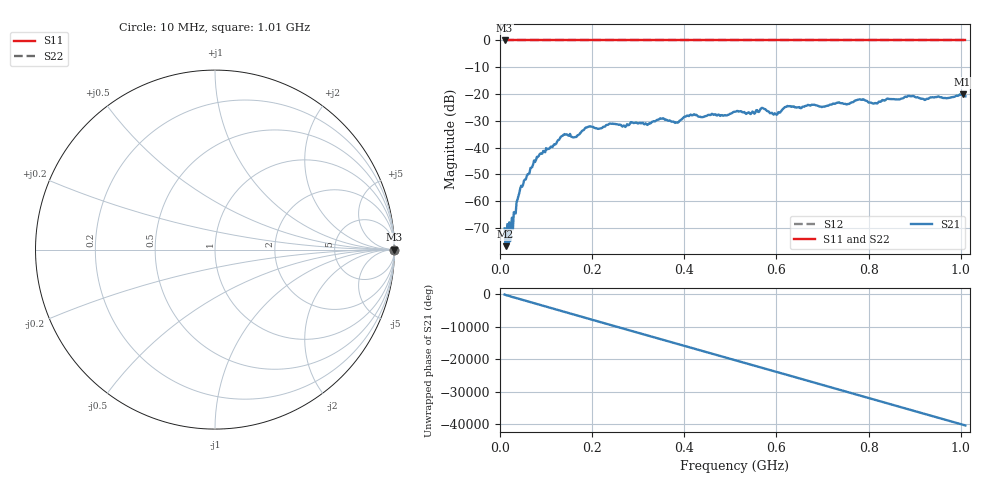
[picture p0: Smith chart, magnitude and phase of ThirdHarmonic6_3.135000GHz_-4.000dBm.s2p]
! 8/17/2025 9:20:29 AM
! C:\ANRITSUVNA\TEMP\TEMP.S2P
! CHANNEL.1
! TR.MEASUREMENT
! RAW.DATA
! RF.CORRECTION.OFF
! AVERAGING.OFF
! IF.BANDWIDTH: 5KHZ
! SWEEPTYPE:  FREQ.SWEEP(Linear)
! Reference Plane Port Info
! PORT:  PORT1  PORT2
! DISTANCE:  0  m  0  m
! TIME:  0  s  0  s
! PHASE.OFFSET:  0  deg.  0  deg.
! LOSS:  0  dB  0  dB
! REF.LOSS:  0  dB  0  dB
! REF.FREQ:  0  Hz  0  Hz
! Power Info
! POWER:  -20  dBm  -20  dBm
! EFF.POWER:  -20  dBm  -20  dBm
! SOURCE.ATTEN:  0  dB  0  dB
! TEST.ATTEN:  0  dB  0  dB
# GHZ S RI R 50.0
! FREQ.GHZ  S11RE  S11IM  S21RE  S21IM  S12RE  S12IM  S22RE  S22IM
!; PortSelection: Port_12
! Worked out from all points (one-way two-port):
!   501 points, 10 MHz to 1.01 GHz, reference 50 ohm
!   highest |S21| = -20.08 dB at 1.004 GHz (marker M1); lowest = -76.8 dB at 12 MHz (marker M2)
!   lowest |S11| = 0.0 dB at 10 MHz (marker M3)
!   |S11| at or under -10 dB: nowhere
!   |S22| runs from 0.0 to 0.0 dB; largest |S21 - S12| = 1.1
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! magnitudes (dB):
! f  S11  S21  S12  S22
! 10 MHz  0.0  -70.2  0.0  0.0
! 12 MHz  0.0  -76.8  0.0  0.0
! 14 MHz  0.0  -72.6  0.0  0.0
! 26 MHz  0.0  -66.2  0.0  0.0
! 40 MHz  0.0  -58.1  0.0  0.0
! 48 MHz  0.0  -54.7  0.0  0.0
! 84 MHz  0.0  -43.2  0.0  0.0
! 136 MHz  0.0  -35.6  0.0  0.0
! 162 MHz  0.0  -36.1  0.0  0.0
! 178 MHz  0.0  -33.8  0.0  0.0
! 194 MHz  0.0  -32.1  0.0  0.0
! 344 MHz  0.0  -29.6  0.0  0.0
! 384 MHz  0.0  -30.6  0.0  0.0
! 410 MHz  0.0  -28.2  0.0  0.0
! 510 MHz  0.0  -26.6  0.0  0.0
! 570 MHz  0.0  -25.2  0.0  0.0
! 598 MHz  0.0  -27.3  0.0  0.0
! 622 MHz  0.0  -24.7  0.0  0.0
! 678 MHz  0.0  -24.0  0.0  0.0
! 844 MHz  0.0  -21.9  0.0  0.0
! 1.004 GHz  0.0  -20.1  0.0  0.0
! 1.01 GHz  0.0  -20.9  0.0  0.0
